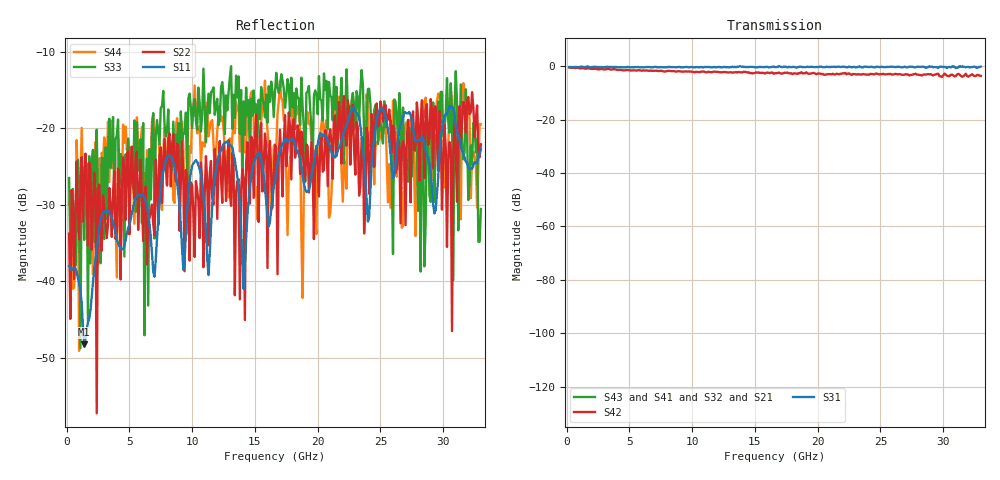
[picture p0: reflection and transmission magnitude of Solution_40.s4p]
# GHZ S RI R 50
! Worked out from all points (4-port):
!   329 points, 200 MHz to 33 GHz, reference 50 ohm
!   strongest paths, dB at 200 MHz, 8.4 GHz, 16.6 GHz, 24.8 GHz, 33 GHz:
!     S31: -0.4, -0.4, -0.4, -0.3, -0.2
!     S42: -0.5, -1.9, -2.7, -3.0, -3.7
!     S43: -, -, -, -, -
!     S41: -, -, -, -, -
!     S32: -, -, -, -, -
!     S21: -, -, -, -, -
!   lowest |S11| = -48.2 dB at 1.4 GHz (marker M1), VSWR 1.01, Z = 50.4 - j0.00983 ohm
!   |S11| at or under -10 dB: start of sweep to end of sweep
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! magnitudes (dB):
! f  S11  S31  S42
! 200 MHz  -38.0  -0.4  -0.5
! 1.4 GHz  -48.2  -0.4  -0.9
! 2.3 GHz  -37.1  -0.3  -1.0
! 2.4 GHz  -35.8  -0.3  -1.1
! 2.5 GHz  -34.4  -0.3  -1.2
! 5.2 GHz  -31.1  -0.5  -1.6
! 33 GHz  -22.8  -0.2  -3.7
